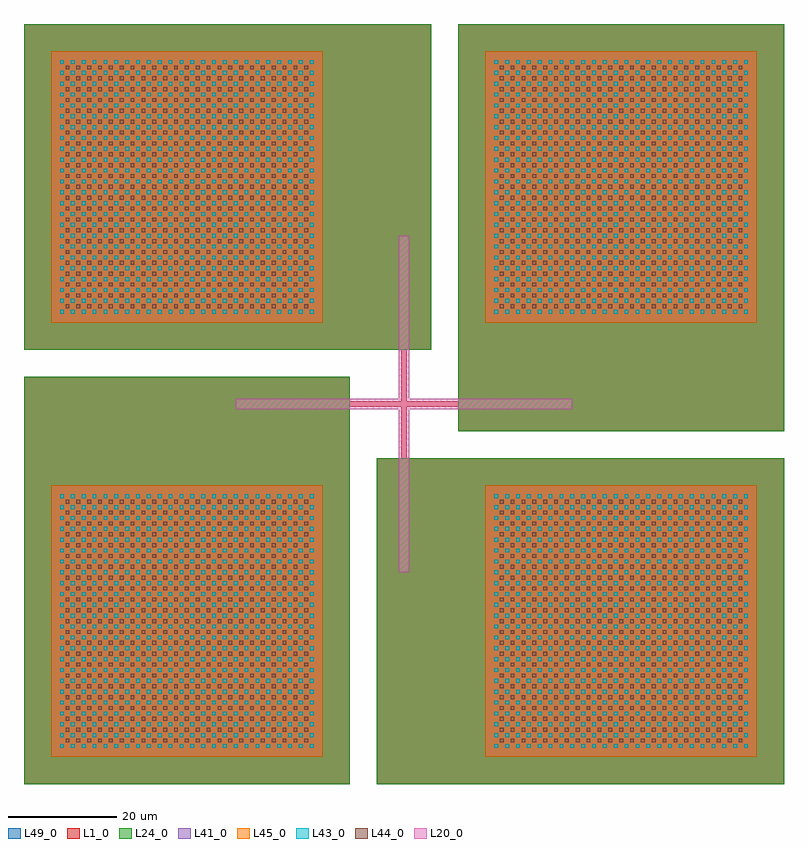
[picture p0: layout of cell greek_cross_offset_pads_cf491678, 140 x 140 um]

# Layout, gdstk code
from math import pi, radians
import gdstk
lib = gdstk.Library(unit=1e-6, precision=1e-09)
def R(c, l, rs):  # rectangles x0, y0, x1, y1
    for r in rs: c.add(gdstk.rectangle(r[:2], r[2:], *l))
L1_0 = (1, 0)
L20_0 = (20, 0)
L24_0 = (24, 0)
L41_0 = (41, 0)
L43_0 = (43, 0)
L44_0 = (44, 0)
L45_0 = (45, 0)
L49_0 = (49, 0)

compass_s1_61_lwg_ptele_ = lib.new_cell('compass_S1_61_LWG_PTele_8e7360f2')
R(compass_s1_61_lwg_ptele_, L1_0, [(-0.5,-30.5,0.5,30.5)])

rectangle_s1_61_lwg_cfa_ = lib.new_cell('rectangle_S1_61_LWG_CFa_6a02062c')
rectangle_s1_61_lwg_cfa_.add(gdstk.Reference(compass_s1_61_lwg_ptele_, (0.5,30.5)))

cross_l61_w1_lwg_ptnone = lib.new_cell('cross_L61_W1_LWG_PTNone')
cross_l61_w1_lwg_ptnone.add(gdstk.Reference(rectangle_s1_61_lwg_cfa_, (30.5,-0.5), rotation=pi/2))
cross_l61_w1_lwg_ptnone.add(gdstk.Reference(rectangle_s1_61_lwg_cfa_, (-0.5,-30.5)))

compass_s2_62_ln_ptelec_ = lib.new_cell('compass_S2_62_LN_PTelec_7c440a74')
R(compass_s2_62_ln_ptelec_, L20_0, [(-1,-31,1,31)])

rectangle_s2_62_ln_cfal_ = lib.new_cell('rectangle_S2_62_LN_CFal_e27ace26')
rectangle_s2_62_ln_cfal_.add(gdstk.Reference(compass_s2_62_ln_ptelec_, (1,31)))

cross_l62_w2_ln_ptnone = lib.new_cell('cross_L62_W2_LN_PTNone')
cross_l62_w2_ln_ptnone.add(gdstk.Reference(rectangle_s2_62_ln_cfal_, (31,-1), rotation=pi/2))
cross_l62_w2_ln_ptnone.add(gdstk.Reference(rectangle_s2_62_ln_cfal_, (-1,-31)))

compass_s50_50_lm1_ptel_ = lib.new_cell('compass_S50_50_LM1_PTel_0e79c157')
R(compass_s50_50_lm1_ptel_, L41_0, [(-25,-25,25,25)])

compass_s50_50_lm2_ptel_ = lib.new_cell('compass_S50_50_LM2_PTel_c4ffd588')
R(compass_s50_50_lm2_ptel_, L45_0, [(-25,-25,25,25)])

compass_s50_50_lmtop_pt_ = lib.new_cell('compass_S50_50_LMTOP_PT_8ca289a8')
R(compass_s50_50_lmtop_pt_, L49_0, [(-25,-25,25,25)])

via_s0p7_0p7_s2_2_gnone_ = lib.new_cell('via_S0p7_0p7_S2_2_GNone_3d643c37')
R(via_s0p7_0p7_s2_2_gnone_, L44_0, [(-0.35,-0.35,0.35,0.35)])

c_via_s0p7_0p7_s2_2_gnone_ = lib.new_cell('via_S0p7_0p7_S2_2_GNone_c4f19208')
R(c_via_s0p7_0p7_s2_2_gnone_, L43_0, [(-0.35,-0.35,0.35,0.35)])

via_stack_s50_50_lm1_m2_ = lib.new_cell('via_stack_S50_50_LM1_M2_529a4d9c')
via_stack_s50_50_lm1_m2_.add(gdstk.Reference(compass_s50_50_lm1_ptel_, (0,0)))
via_stack_s50_50_lm1_m2_.add(gdstk.Reference(compass_s50_50_lm2_ptel_, (0,0)))
via_stack_s50_50_lm1_m2_.add(gdstk.Reference(compass_s50_50_lmtop_pt_, (0,0)))
r = gdstk.Reference(via_s0p7_0p7_s2_2_gnone_, (-22,-22)); r.repetition = gdstk.Repetition(23, 23, v1=(2,0), v2=(0,2)); via_stack_s50_50_lm1_m2_.add(r)
r = gdstk.Reference(c_via_s0p7_0p7_s2_2_gnone_, (-23,-23)); r.repetition = gdstk.Repetition(24, 24, v1=(2,0), v2=(0,2)); via_stack_s50_50_lm1_m2_.add(r)

pad_s50_50_lmtop_blnone_ = lib.new_cell('pad_S50_50_LMTOP_BLNone_2a0210be')
R(pad_s50_50_lmtop_blnone_, L49_0, [(-25,-25,25,25)])

compass_s60_75_lwg_ptel_ = lib.new_cell('compass_S60_75_LWG_PTel_493ce6a0')
R(compass_s60_75_lwg_ptel_, L1_0, [(-30,-37.5,30,37.5)])

rectangle_s60_75_lwg_cf_ = lib.new_cell('rectangle_S60_75_LWG_CF_d20f3842')
rectangle_s60_75_lwg_cf_.add(gdstk.Reference(compass_s60_75_lwg_ptel_, (30,37.5)))

compass_s60_75_lnpp_pte_ = lib.new_cell('compass_S60_75_LNPP_PTe_b38d1d73')
R(compass_s60_75_lnpp_pte_, L24_0, [(-30,-37.5,30,37.5)])

rectangle_s60_75_lnpp_c_ = lib.new_cell('rectangle_S60_75_LNPP_C_05b294e9')
rectangle_s60_75_lnpp_c_.add(gdstk.Reference(compass_s60_75_lnpp_pte_, (30,37.5)))

contact_1_1 = lib.new_cell('contact_1_1')
contact_1_1.add(gdstk.Reference(via_stack_s50_50_lm1_m2_, (0,0)))
contact_1_1.add(gdstk.Reference(pad_s50_50_lmtop_blnone_, (0,0)))
contact_1_1.add(gdstk.Reference(rectangle_s60_75_lwg_cf_, (-30,-45)))
contact_1_1.add(gdstk.Reference(rectangle_s60_75_lnpp_c_, (-30,-45)))

contact_1__1 = lib.new_cell('contact_1_-1')
contact_1__1.add(gdstk.Reference(via_stack_s50_50_lm1_m2_, (0,0)))
contact_1__1.add(gdstk.Reference(pad_s50_50_lmtop_blnone_, (0,0)))
contact_1__1.add(gdstk.Reference(rectangle_s60_75_lwg_cf_, (-30,-45)))
contact_1__1.add(gdstk.Reference(rectangle_s60_75_lnpp_c_, (-30,-45)))

contact__1_1 = lib.new_cell('contact_-1_1')
contact__1_1.add(gdstk.Reference(via_stack_s50_50_lm1_m2_, (0,0)))
contact__1_1.add(gdstk.Reference(pad_s50_50_lmtop_blnone_, (0,0)))
contact__1_1.add(gdstk.Reference(rectangle_s60_75_lwg_cf_, (-30,-45)))
contact__1_1.add(gdstk.Reference(rectangle_s60_75_lnpp_c_, (-30,-45)))

contact__1__1 = lib.new_cell('contact_-1_-1')
contact__1__1.add(gdstk.Reference(via_stack_s50_50_lm1_m2_, (0,0)))
contact__1__1.add(gdstk.Reference(pad_s50_50_lmtop_blnone_, (0,0)))
contact__1__1.add(gdstk.Reference(rectangle_s60_75_lwg_cf_, (-30,-45)))
contact__1__1.add(gdstk.Reference(rectangle_s60_75_lnpp_c_, (-30,-45)))

greek_cross_offset_pads_ = lib.new_cell('greek_cross_offset_pads_cf491678')
greek_cross_offset_pads_.add(gdstk.Reference(cross_l61_w1_lwg_ptnone, (0,0)))
greek_cross_offset_pads_.add(gdstk.Reference(cross_l62_w2_ln_ptnone, (0,0)))
greek_cross_offset_pads_.add(gdstk.Reference(contact_1_1, (40,40)))
greek_cross_offset_pads_.add(gdstk.Reference(contact_1__1, (40,-40), rotation=3*pi/2))
greek_cross_offset_pads_.add(gdstk.Reference(contact__1_1, (-40,40), rotation=pi/2))
greek_cross_offset_pads_.add(gdstk.Reference(contact__1__1, (-40,-40), rotation=pi))

lib.write_gds('greek_cross_offset_pads_cf491678.gds')
